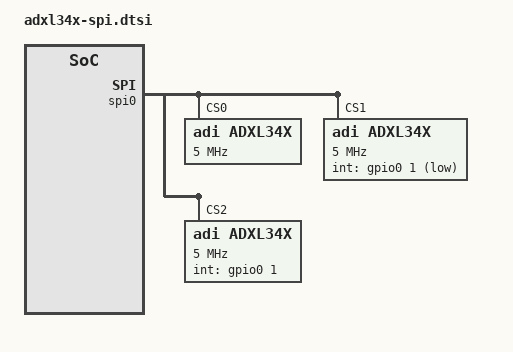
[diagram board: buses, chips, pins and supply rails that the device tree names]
/*
 * Copyright (c) 2024 Chaim Zax
 * SPDX-License-Identifier: Apache-2.0
 */

&spi0 {
	adxl34x@0 {
		compatible = "adi,adxl34x";
		reg = <0>;
		spi-max-frequency = <5000000>;
		status = "okay";
	};

	adxl34x@1 {
		compatible = "adi,adxl34x";
		reg = <1>;
		spi-max-frequency = <5000000>;
		int-gpios = <&gpio0 1 GPIO_ACTIVE_LOW>;
		int-pin = <1>;
		packet-size = <16>;
		accel-frequency = "100";
		accel-range = <2>;
		status = "okay";
	};

	adxl34x@2 {
		compatible = "adi,adxl34x";
		reg = <2>;
		spi-max-frequency = <5000000>;
		int-gpios = <&gpio0 1 GPIO_ACTIVE_HIGH>;
		int-pin = <2>;
		packet-size = <31>;
		accel-frequency = "3200";
		accel-range = <16>;
		status = "okay";
	};
};
